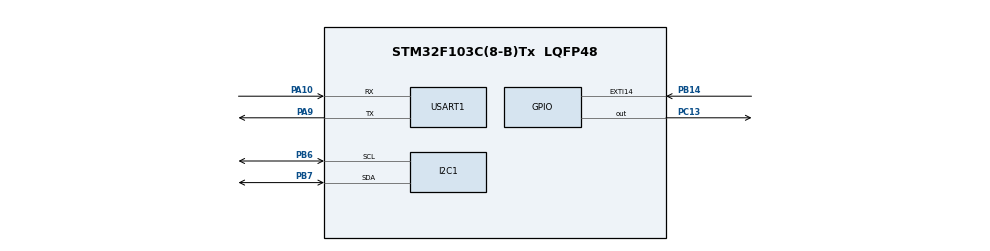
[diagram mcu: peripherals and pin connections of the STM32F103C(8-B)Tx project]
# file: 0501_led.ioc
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Mcu.Family=STM32F1
Mcu.Name=STM32F103C(8-B)Tx
Mcu.Package=LQFP48
NVIC.EXTI15_10_IRQn=true\:0\:0\:false\:true\:true\:1\:true\:true\:true
NVIC.PriorityGroup=NVIC_PRIORITYGROUP_4
PA10.Mode=Asynchronous
PA10.Signal=USART1_RX
PA13.Mode=Serial_Wire
PA13.Signal=SYS_JTMS-SWDIO
PA14.Mode=Serial_Wire
PA14.Signal=SYS_JTCK-SWCLK
PA9.Mode=Asynchronous
PA9.Signal=USART1_TX
PB14.GPIO_ModeDefaultEXTI=GPIO_MODE_IT_RISING_FALLING
PB14.Signal=GPXTI14
PB6.Mode=I2C
PB6.Signal=I2C1_SCL
PB7.Mode=I2C
PB7.Signal=I2C1_SDA
PC13-TAMPER-RTC.Signal=GPIO_Output
ProjectManager.HeapSize=0x200
ProjectManager.StackSize=0x400
ProjectManager.TargetToolchain=MDK-ARM V5.32
RCC.APB1Freq_Value=8000000
RCC.APB2Freq_Value=8000000
USART1.VirtualMode=VM_ASYNC
board=custom

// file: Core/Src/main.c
/* USER CODE BEGIN Header */
/**
  ******************************************************************************
  * @file           : main.c
  * @brief          : Main program body
  ******************************************************************************
  * @attention
  *
  * Copyright (c) 2023 STMicroelectronics.
  * All rights reserved.
  *
  * This software is licensed under terms that can be found in the LICENSE file
  * in the root directory of this software component.
  * If no LICENSE file comes with this software, it is provided AS-IS.
  *
  ******************************************************************************
  */
/* USER CODE END Header */
#include "main.h"
#include "i2c.h"
#include "usart.h"
#include "gpio.h"

/* USER CODE BEGIN Includes */
#include "driver_oled.h"
#include "circle_buffer.h"
/* USER CODE END Includes */

/* USER CODE BEGIN PTD */
struct soft_timer{
	uint32_t timeout;
	void *args;
	void (*func)(void*);
};

/* USER CODE END PTD */

/* USER CODE BEGIN PV */
int g_key_cnt=0;

void key_timeout_func(void *args);

struct soft_timer key_timer={~0,NULL,key_timeout_func};

static uint8_t g_data_buf[100];
static circle_buf g_key_bufs;

void key_timeout_func(void *args)
{
  uint8_t key_val;/* 按下�?0x1,松开�?0x81 */
	g_key_cnt++;
	key_timer.timeout=~0;

  /* read gpio */
  if(HAL_GPIO_ReadPin(GPIOB,GPIO_PIN_14)==GPIO_PIN_RESET)
  {
    key_val=0x1;
  }
  else
  {
    key_val=0x81;
  }
  /* put key val into circle buf */
  circle_buf_write(&g_key_bufs,key_val);
}

void mod_timer(struct soft_timer *pTimer,uint32_t timeout)
{
	pTimer->timeout=HAL_GetTick()+timeout;
}

void check_timer(void)
{
	if(key_timer.timeout<=HAL_GetTick())
	{
		key_timer.func(key_timer.args);
	}
}

 void HAL_GPIO_EXTI_Callback(uint16_t GPIO_Pin)
 {
	 if(GPIO_Pin==GPIO_PIN_14)
	 {
	  mod_timer(&key_timer,10);
	 }
 }
/* USER CODE END PV */

void SystemClock_Config(void);
static void MX_NVIC_Init(void);

int main(void)
{
  /* USER CODE BEGIN 1 */
  int len;
  char *str="www.jinitaimei\r\n";
  char *str2="Please enter a char:\r\n";
  char c;
  /* USER CODE END 1 */

  /* MCU Configuration--------------------------------------------------------*/

  /* Reset of all peripherals, Initializes the Flash interface and the Systick. */
  HAL_Init();

  /* Configure the system clock */
  SystemClock_Config();

  /* USER CODE BEGIN SysInit */
  circle_buf_init(&g_key_bufs,100,g_data_buf);
  /* USER CODE END SysInit */

  /* Initialize all configured peripherals */
  MX_GPIO_Init();
  MX_I2C1_Init();
  MX_USART1_UART_Init();

  /* Initialize interrupts */
  MX_NVIC_Init();
  /* USER CODE BEGIN 2 */
  //��ʼ��OLED
  OLED_Init();
  //����
	OLED_Clear();
  /* USER CODE END 2 */

  /* Infinite loop */
  /* USER CODE BEGIN WHILE */
  // HAL_Delay(10000);

  OLED_PrintString(0,0,"CNT     :");
  len=OLED_PrintString(0,2,"Key Val :");

  HAL_UART_Transmit(&huart1,str,strlen(str),1000);
  while (1)
  {

    HAL_UART_Transmit(&huart1,str2,strlen(str2),1000);
    while(HAL_UART_Receive(&huart1,&c,1,100)!=HAL_OK);
    c=c+1;
     HAL_UART_Transmit(&huart1,&c,1,1000);
     HAL_UART_Transmit(&huart1,"\r\n",1,1000);
    // OLED_PrintSignedVal(len,0,g_key_cnt);
    // uint8_t key_val=0;
    // if(circle_buf_read(&g_key_bufs,&key_val)==0)
    // {
    //   OLED_ClearLine(len,2);
    //    OLED_PrintHex(len,2,key_val,1);
    // }
		// /* set PC13 output high */
		// HAL_GPIO_WritePin(GPIOC, GPIO_PIN_13, GPIO_PIN_SET);
		// HAL_Delay(500);

		// /* set PC13 output low */
		// HAL_GPIO_WritePin(GPIOC, GPIO_PIN_13, GPIO_PIN_RESET);
		// HAL_Delay(500);

    /* USER CODE END WHILE */

  }
}

void SystemClock_Config(void)
{
  RCC_OscInitTypeDef RCC_OscInitStruct = {0};
  RCC_ClkInitTypeDef RCC_ClkInitStruct = {0};

  /** Initializes the RCC Oscillators according to the specified parameters
  * in the RCC_OscInitTypeDef structure.
  */
  RCC_OscInitStruct.OscillatorType = RCC_OSCILLATORTYPE_HSI;
  RCC_OscInitStruct.HSIState = RCC_HSI_ON;
  RCC_OscInitStruct.HSICalibrationValue = RCC_HSICALIBRATION_DEFAULT;
  RCC_OscInitStruct.PLL.PLLState = RCC_PLL_NONE;
  if (HAL_RCC_OscConfig(&RCC_OscInitStruct) != HAL_OK)
  {
    Error_Handler();
  }

  /** Initializes the CPU, AHB and APB buses clocks
  */
  RCC_ClkInitStruct.ClockType = RCC_CLOCKTYPE_HCLK|RCC_CLOCKTYPE_SYSCLK
                              |RCC_CLOCKTYPE_PCLK1|RCC_CLOCKTYPE_PCLK2;
  RCC_ClkInitStruct.SYSCLKSource = RCC_SYSCLKSOURCE_HSI;
  RCC_ClkInitStruct.AHBCLKDivider = RCC_SYSCLK_DIV1;
  RCC_ClkInitStruct.APB1CLKDivider = RCC_HCLK_DIV1;
  RCC_ClkInitStruct.APB2CLKDivider = RCC_HCLK_DIV1;

  if (HAL_RCC_ClockConfig(&RCC_ClkInitStruct, FLASH_LATENCY_0) != HAL_OK)
  {
    Error_Handler();
  }
}

/**
  * @brief NVIC Configuration.
  * @retval None
  */
static void MX_NVIC_Init(void)
{
  /* EXTI15_10_IRQn interrupt configuration */
  HAL_NVIC_SetPriority(EXTI15_10_IRQn, 0, 0);
  HAL_NVIC_EnableIRQ(EXTI15_10_IRQn);
}

void Error_Handler(void)
{
  __disable_irq();
  while (1)
  {
  }
}
